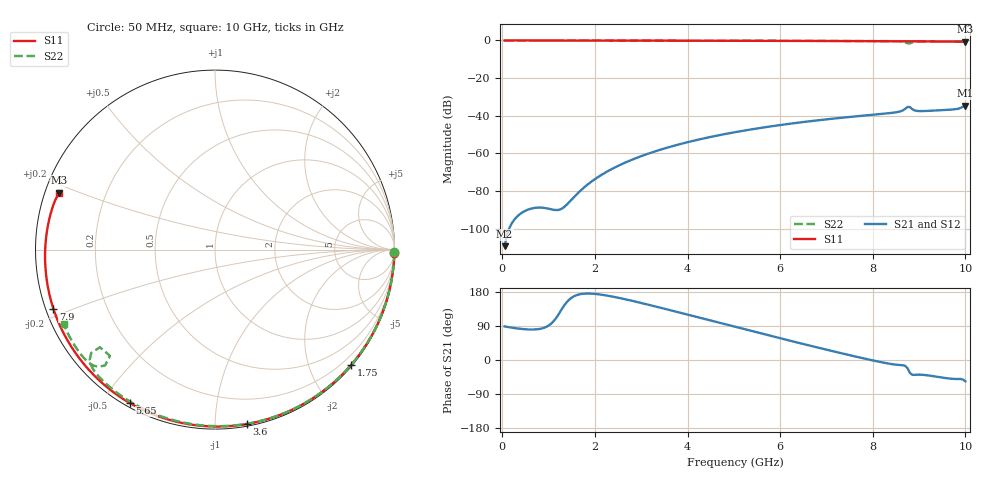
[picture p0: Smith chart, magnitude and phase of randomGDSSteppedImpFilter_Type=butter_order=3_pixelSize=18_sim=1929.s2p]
! freq	dB(S11)	phase(S11)	dB(S12)	phase(S12)
!  dB(S21)	phase(S21)	dB(S22)	phase(S22)
!S-par simulation data
#  GHz  S  DB  R 50
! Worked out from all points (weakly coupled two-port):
!   200 points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, 50 MHz to 10 GHz, reference 50 ohm
!   highest |S21| = -34.65 dB at 10 GHz (marker M1); lowest = -109.4 dB at 50 MHz (marker M2)
!   lowest |S11| = -0.7 dB at 10 GHz (marker M3), VSWR 25.21, Z = 2.05 + j8.86 ohm
!   |S11| at or under -10 dB: nowhere
!   |S22| runs from -1.6 to 0.0 dB; largest |S21 - S12| = 0
!   S11 on the Smith chart (normalised r, x): 50 MHz: open; 1.75 GHz: 0.02, -2.73; 3.6 GHz: 0.01, -1.20; 5.65 GHz: 0.02, -0.59; 7.9 GHz: 0.02, -0.18; 10 GHz: 0.04, +0.18
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0.05  -0.00 -1.1  -109.36 88.7  -109.36 88.7  -0.00 -0.9
0.8  -0.02 -18.6  -88.84 81.8  -88.84 81.8  -0.02 -14.2
1.65  -0.05 -38.0  -80.74 172.8  -80.74 172.8  -0.04 -29.0
1.75  -0.05 -40.2  -78.49 174.9  -78.49 174.9  -0.04 -30.7
2.05  -0.06 -46.8  -72.90 173.8  -72.90 173.8  -0.05 -35.9
2.45  -0.07 -55.6  -67.28 165.6  -67.28 165.6  -0.06 -42.6
2.9  -0.08 -65.1  -62.43 153.4  -62.43 153.4  -0.07 -50.1
3.4  -0.10 -75.5  -58.17 138.4  -58.17 138.4  -0.08 -58.3
3.6  -0.11 -79.6  -56.71 132.3  -56.71 132.3  -0.08 -61.5
4.3  -0.13 -93.5  -52.35 110.3  -52.35 110.3  -0.10 -72.6
5.05  -0.16 -107.9  -48.65 86.8  -48.65 86.8  -0.13 -84.1
5.65  -0.20 -119.0  -46.22 68.1  -46.22 68.1  -0.15 -93.0
6.7  -0.26 -138.1  -42.77 36.2  -42.77 36.2  -0.21 -108.2
7.9  -0.37 -159.9  -39.73 1.5  -39.73 1.5  -0.30 -125.3
8.35  -0.41 -168.1  -38.67 -9.6  -38.67 -9.6  -0.36 -132.2
8.65  -0.44 -173.7  -37.18 -13.9  -37.18 -13.9  -0.64 -138.7
8.75  -0.46 -175.6  -35.35 -21.7  -35.35 -21.7  -1.50 -139.7
8.8  -0.46 -176.6  -35.39 -33.7  -35.39 -33.7  -1.60 -134.7
8.9  -0.47 -178.5  -37.15 -39.2  -37.15 -39.2  -0.72 -134.8
9.15  -0.50 176.7  -37.49 -40.0  -37.49 -40.0  -0.47 -140.4
9.75  -0.59 164.7  -36.64 -50.0  -36.64 -50.0  -0.50 -149.9
10  -0.69 159.9  -34.65 -56.2  -34.65 -56.2  -0.54 -153.7
